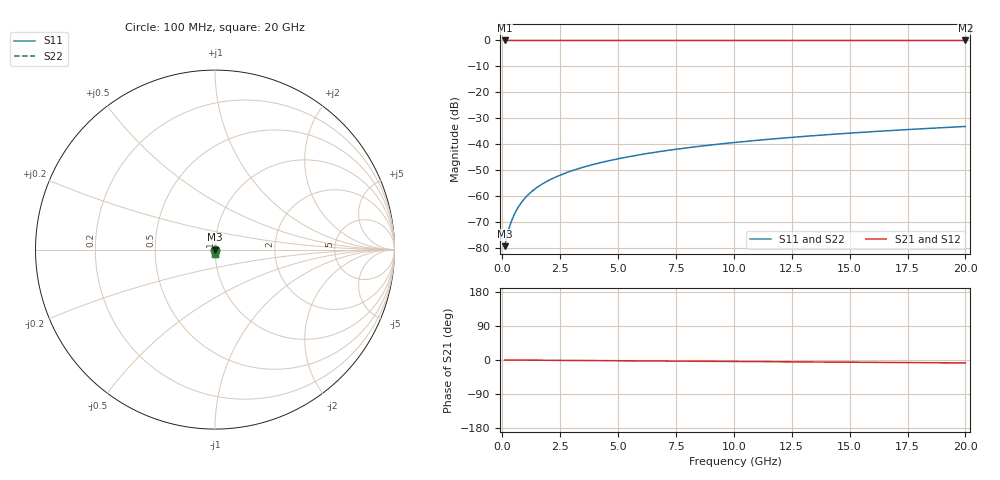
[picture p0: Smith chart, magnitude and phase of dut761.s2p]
! Touchstone file exported from HFSS 2026.1.0
!  File:  C:/ffzhzh/LocalFiles/Ansys_Project_Files/temp_train_TSV_761_1783183231_22436.aedt
!  Generated:  12:41:50 AM Jul  5, 2026
!  Design:  TSV
!  Project:  temp_train_TSV_761_1783183231_22436
! Variables:
!  h_bsmrdl = 2um
!  h_ox = 20um
!  h_rdl = 5um
!  h_sub = 76.74um
!  h_tmrdl = 5um
!  h_tsv = 76.74um
!  h_via = 3um
!  l_bsmrdl = 300um
!  l_sub = 426.26um
!  l_tmrdl = 200um
!  m_sub = 200um
!  pitch = 44.87um
!  r_tsv = 13.13um
!  s_tmrdl = 10um
!  w_bsmrdl = 18um
!  w_sub = 500um
!  w_tmrdl = 12um
!  x_tsv_center1 = 206um
!  x_tsv_center2 = 524um
!  x_tsv_center3 = 736um
!  x_tsv_center4 = 1054um
!  x_tsv_center5 = 1266um
!  x_tsv_center6 = 1584um
# GHz S MA R 50.000000
! Terminal data exported
! Port[1] = TSV1_1_T1
! Port[2] = TSV1_1_T2
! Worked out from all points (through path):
!   200 points, 100 MHz to 20 GHz, reference 50 ohm
!   highest |S21| = 0.00 dB at 100 MHz (marker M1); lowest = 0.0 dB at 20 GHz (marker M2)
!   group delay of S21, straight-line fit = 1.07 ps
!   lowest |S11| = -79.2 dB at 100 MHz (marker M3), VSWR 1.00, Z = 50 - j0.00689 ohm
!   |S11| at or under -10 dB: start of sweep to end of sweep
!   |S22| runs from -79.2 to -33.1 dB; largest |S21 - S12| = 4.1e-15
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0.1  0.0001094 -39.0  0.9999 -0.0  0.9999 -0.0  0.0001094 -39.0
! Gamma 0 0 0 0
! Port Impedance 50 0 50 0
0.2  0.000172 -55.2  0.9999 -0.1  0.9999 -0.1  0.000172 -55.2
0.3  0.0002489 -61.9  0.9999 -0.1  0.9999 -0.1  0.0002489 -61.9
0.4  0.0003351 -65.4  0.9999 -0.2  0.9999 -0.2  0.0003351 -65.4
0.5  0.0004281 -67.7  0.9998 -0.2  0.9998 -0.2  0.0004281 -67.7
0.6  0.0005262 -69.5  0.9998 -0.2  0.9998 -0.2  0.0005262 -69.5
0.8  0.0007316 -72.3  0.9998 -0.3  0.9998 -0.3  0.0007316 -72.3
1.1  0.00105 -75.5  0.9997 -0.4  0.9997 -0.4  0.00105 -75.5
1.3  0.001265 -77.1  0.9997 -0.5  0.9997 -0.5  0.001265 -77.1
1.5  0.001479 -78.4  0.9997 -0.6  0.9997 -0.6  0.001479 -78.4
1.8  0.001801 -80.0  0.9997 -0.7  0.9997 -0.7  0.001801 -80.0
2.1  0.002123 -81.2  0.9996 -0.8  0.9996 -0.8  0.002123 -81.2
2.7  0.002768 -82.9  0.9996 -1.1  0.9996 -1.1  0.002768 -82.9
3.5  0.003631 -84.4  0.9995 -1.4  0.9995 -1.4  0.003631 -84.4
4.2  0.004392 -85.3  0.9995 -1.6  0.9995 -1.6  0.004392 -85.3
5  0.005267 -86.2  0.9995 -1.9  0.9995 -1.9  0.005267 -86.2
6.8  0.007255 -87.7  0.9993 -2.6  0.9993 -2.6  0.007255 -87.7
8.3  0.008924 -88.8  0.9993 -3.2  0.9993 -3.2  0.008924 -88.8
10.1  0.01093 -89.9  0.9992 -3.9  0.9992 -3.9  0.01093 -89.9
13.4  0.01463 -91.8  0.999 -5.2  0.999 -5.2  0.01463 -91.8
16.7  0.01834 -93.4  0.9989 -6.5  0.9989 -6.5  0.01834 -93.4
20  0.02206 -94.9  0.9987 -7.7  0.9987 -7.7  0.02206 -94.9
